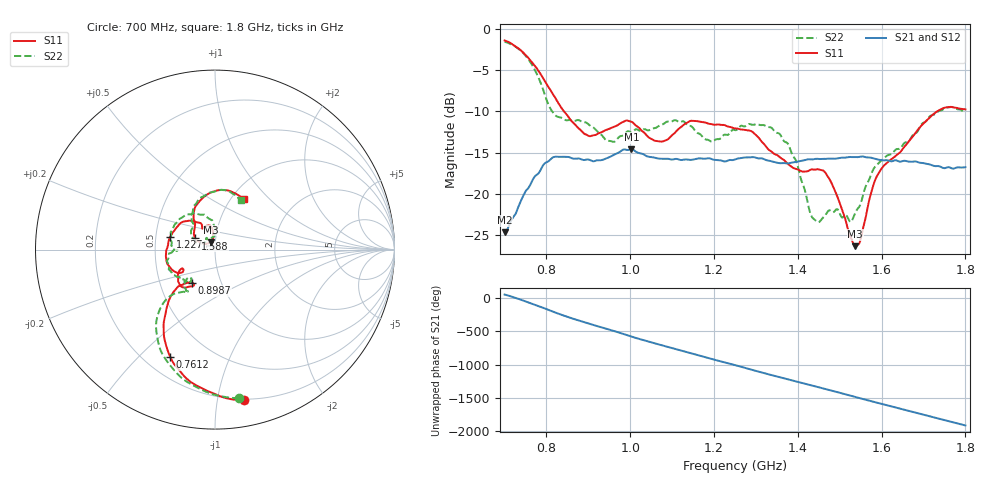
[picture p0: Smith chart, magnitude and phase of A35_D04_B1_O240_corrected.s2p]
! Created with skrf 1.9.0 (http://scikit-rf.org).
# Hz S RI R 50.0
!freq ReS11 ImS11 ReS21 ImS21 ReS12 ImS12 ReS22 ImS22
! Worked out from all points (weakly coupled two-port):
!   1601 points, 700 MHz to 1.8 GHz, reference 50 ohm
!   highest |S21| = -14.61 dB at 1.002 GHz (marker M1); lowest = -24.7 dB at 700.7 MHz (marker M2)
!   lowest |S11| = -26.4 dB at 1.537 GHz (marker M3), VSWR 1.10, Z = 47.8 + j4.14 ohm
!   |S11| at or under -10 dB: 841.8 MHz to 1.732 GHz (890.4 MHz wide, 69.2 % of centre)
!   |S22| runs from -23.5 to -1.5 dB; largest |S21 - S12| = 0.0034
!   S11 on the Smith chart (normalised r, x): 700 MHz: 0.19, -1.19; 761.2 MHz: 0.30, -0.62; 898.7 MHz: 0.73, -0.28; 1.227 GHz: 0.59, +0.09; 1.588 GHz: 0.80, +0.10; 1.8 GHz: 1.14, +0.72
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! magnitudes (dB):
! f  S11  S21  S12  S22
! 700 MHz  -1.4  -24.7  -24.5  -1.5
! 700.7 MHz  -1.4  -24.7  -24.4  -1.5
! 761.2 MHz  -3.8  -18.9  -18.8  -4.0
! 818.2 MHz  -8.1  -15.5  -15.6  -10.3
! 883.6 MHz  -12.4  -15.8  -15.7  -11.2
! 898.7 MHz  -12.9  -15.8  -15.9  -11.5
! 955.8 MHz  -12.0  -15.4  -15.4  -13.6
! 1.002 GHz  -11.2  -14.6  -14.7  -12.5
! 1.067 GHz  -13.6  -15.7  -15.7  -11.8
! 1.144 GHz  -11.1  -15.9  -15.9  -11.8
! 1.227 GHz  -11.7  -16.1  -16.0  -12.8
! 1.25 GHz  -12.1  -15.8  -15.8  -12.3
! 1.357 GHz  -15.6  -16.3  -16.2  -12.8
! 1.396 GHz  -17.0  -16.1  -16.1  -16.0
! 1.434 GHz  -17.0  -15.8  -15.8  -22.8
! 1.476 GHz  -18.2  -15.7  -15.7  -22.0
! 1.537 GHz  -26.4  -15.5  -15.5  -22.4
! 1.549 GHz  -25.7  -15.5  -15.5  -21.3
! 1.588 GHz  -17.9  -15.8  -15.8  -16.5
! 1.617 GHz  -16.1  -16.0  -15.9  -15.3
! 1.731 GHz  -10.0  -16.7  -16.6  -10.2
! 1.8 GHz  -9.7  -16.8  -16.8  -10.1
